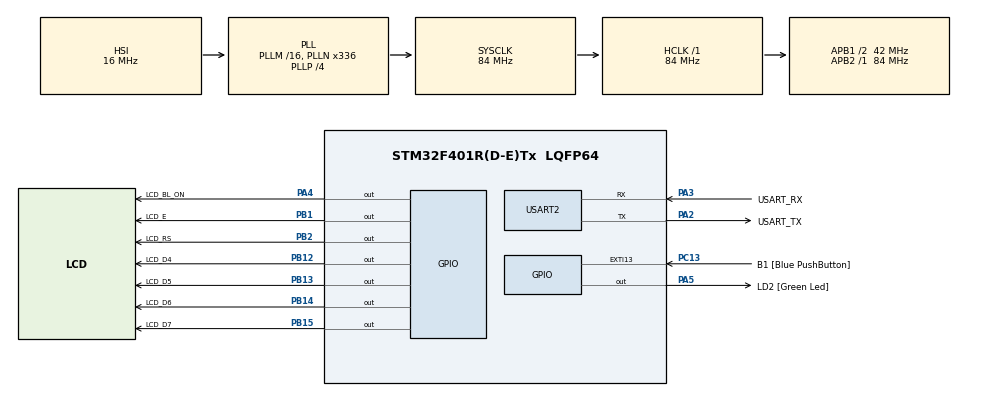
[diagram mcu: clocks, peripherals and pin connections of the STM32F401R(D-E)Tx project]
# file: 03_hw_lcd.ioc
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Mcu.Family=STM32F4
Mcu.Name=STM32F401R(D-E)Tx
Mcu.Package=LQFP64
NVIC.PriorityGroup=NVIC_PRIORITYGROUP_0
NVIC.TIM1_UP_TIM10_IRQn=true\:0\:0\:false\:false\:true\:true\:true\:true
PA13.GPIO_Label=TMS
PA13.Mode=Serial_Wire
PA13.Signal=SYS_JTMS-SWDIO
PA14.GPIO_Label=TCK
PA14.Mode=Serial_Wire
PA14.Signal=SYS_JTCK-SWCLK
PA2.GPIO_Label=USART_TX
PA2.GPIO_Mode=GPIO_MODE_AF_PP
PA2.GPIO_PuPd=GPIO_NOPULL
PA2.GPIO_Speed=GPIO_SPEED_FREQ_LOW
PA2.Mode=Asynchronous
PA2.Signal=USART2_TX
PA3.GPIO_Label=USART_RX
PA3.GPIO_Mode=GPIO_MODE_AF_PP
PA3.GPIO_PuPd=GPIO_NOPULL
PA3.GPIO_Speed=GPIO_SPEED_FREQ_LOW
PA3.Mode=Asynchronous
PA3.Signal=USART2_RX
PA4.GPIO_Label=LCD_BL_ON
PA4.Signal=GPIO_Output
PA5.GPIO_Label=LD2 [Green Led]
PA5.GPIO_Mode=GPIO_MODE_OUTPUT_PP
PA5.GPIO_PuPd=GPIO_NOPULL
PA5.GPIO_Speed=GPIO_SPEED_FREQ_LOW
PA5.Signal=GPIO_Output
PB1.GPIO_Label=LCD_E
PB1.Signal=GPIO_Output
PB12.GPIO_Label=LCD_D4
PB12.Signal=GPIO_Output
PB13.GPIO_Label=LCD_D5
PB13.Signal=GPIO_Output
PB14.GPIO_Label=LCD_D6
PB14.Signal=GPIO_Output
PB15.GPIO_Label=LCD_D7
PB15.Signal=GPIO_Output
PB2.GPIO_Label=LCD_RS
PB2.Signal=GPIO_Output
PB3.GPIO_Label=SWO
PB3.Signal=SYS_JTDO-SWO
PC13-ANTI_TAMP.GPIO_Label=B1 [Blue PushButton]
PC13-ANTI_TAMP.GPIO_ModeDefaultEXTI=GPIO_MODE_IT_FALLING
PC13-ANTI_TAMP.GPIO_PuPd=GPIO_NOPULL
PC13-ANTI_TAMP.Signal=GPXTI13
PC14-OSC32_IN.Mode=LSE-External-Oscillator
PC14-OSC32_IN.Signal=RCC_OSC32_IN
PC15-OSC32_OUT.Mode=LSE-External-Oscillator
PC15-OSC32_OUT.Signal=RCC_OSC32_OUT
PH0\ -\ OSC_IN.Mode=HSE-External-Clock-Source
PH0\ -\ OSC_IN.Signal=RCC_OSC_IN
PH1\ -\ OSC_OUT.Mode=HSE-External-Clock-Source
PH1\ -\ OSC_OUT.Signal=RCC_OSC_OUT
ProjectManager.HeapSize=0x200
ProjectManager.StackSize=0x400
ProjectManager.TargetToolchain=STM32CubeIDE
RCC.48MHZClocksFreq_Value=48000000
RCC.AHBFreq_Value=84000000
RCC.APB1CLKDivider=RCC_HCLK_DIV2
RCC.APB1Freq_Value=42000000
RCC.APB1TimFreq_Value=84000000
RCC.APB2Freq_Value=84000000
RCC.APB2TimFreq_Value=84000000
RCC.CortexFreq_Value=84000000
RCC.HCLKFreq_Value=84000000
RCC.HSE_VALUE=8000000
RCC.HSI_VALUE=16000000
RCC.PLLN=336
RCC.PLLP=RCC_PLLP_DIV4
RCC.PLLQ=7
RCC.SYSCLKFreq_VALUE=84000000
RCC.SYSCLKSource=RCC_SYSCLKSOURCE_PLLCLK
RCC.VCOOutputFreq_Value=336000000
TIM10.Period=10000-1
TIM10.Prescaler=8400-1
USART2.VirtualMode=VM_ASYNC
VP_TIM10_VS_ClockSourceINT.Mode=Enable_Timer
board=NUCLEO-F401RE

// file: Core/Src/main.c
/* USER CODE BEGIN Header */
/**
  ******************************************************************************
  * @file           : main.c
  * @brief          : Main program body
  ******************************************************************************
  * @attention
  *
  * Copyright (c) 2023 STMicroelectronics.
  * All rights reserved.
  *
  * This software is licensed under terms that can be found in the LICENSE file
  * in the root directory of this software component.
  * If no LICENSE file comes with this software, it is provided AS-IS.
  *
  ******************************************************************************
  */
/* USER CODE END Header */
#include "main.h"

/* USER CODE BEGIN Includes */
#include "PMDB16_LCD.h"
/* USER CODE END Includes */

/* USER CODE BEGIN PD */
#define TEAM_SIZE 5
/* USER CODE END PD */

TIM_HandleTypeDef htim10;

UART_HandleTypeDef huart2;

/* USER CODE BEGIN PV */
char group[TEAM_SIZE][9] = { "Ignazio",
							 "Luca_D",
							 "Leonardo",
							 "Luca_C",
							 "Lorenzo"
};

uint8_t counter = 0;

/* USER CODE END PV */

void SystemClock_Config(void);
static void MX_GPIO_Init(void);
static void MX_USART2_UART_Init(void);
static void MX_TIM10_Init(void);

/* USER CODE BEGIN 0 */

// Handle elapsed timer and triggered interrupt
void HAL_TIM_PeriodElapsedCallback (TIM_HandleTypeDef *htim){
	// Check if the timer of interest was triggered
	if(htim == &htim10){

		  lcd_println(group[counter], 0);

		  counter++;

		  if(counter >= TEAM_SIZE)
			  counter = 0;

		  lcd_println(group[counter], 1);

	}

}

/* USER CODE END 0 */

int main(void)
{

  /* MCU Configuration--------------------------------------------------------*/

  /* Reset of all peripherals, Initializes the Flash interface and the Systick. */
  HAL_Init();

  /* Configure the system clock */
  SystemClock_Config();

  /* Initialize all configured peripherals */
  MX_GPIO_Init();
  MX_USART2_UART_Init();
  MX_TIM10_Init();
  /* USER CODE BEGIN 2 */

  // Initialize display
  lcd_initialize();
  lcd_clear();
  // display first name
  lcd_println(group[0], 1);
  // just to get the opportunity to look at the display
  HAL_Delay(500);

  // Start the Timer10 interrupt (freq = 1 Hz) and check if executed correctly, otherwise call Error_Handler
  if(HAL_TIM_Base_Start_IT(&htim10) != HAL_OK)
	  Error_Handler();
  /* USER CODE END 2 */

  /* Infinite loop */
  while (1)
  {
  }
}

void SystemClock_Config(void)
{
  RCC_OscInitTypeDef RCC_OscInitStruct = {0};
  RCC_ClkInitTypeDef RCC_ClkInitStruct = {0};

  /** Configure the main internal regulator output voltage
  */
  __HAL_RCC_PWR_CLK_ENABLE();
  __HAL_PWR_VOLTAGESCALING_CONFIG(PWR_REGULATOR_VOLTAGE_SCALE2);

  /** Initializes the RCC Oscillators according to the specified parameters
  * in the RCC_OscInitTypeDef structure.
  */
  RCC_OscInitStruct.OscillatorType = RCC_OSCILLATORTYPE_HSI;
  RCC_OscInitStruct.HSIState = RCC_HSI_ON;
  RCC_OscInitStruct.HSICalibrationValue = RCC_HSICALIBRATION_DEFAULT;
  RCC_OscInitStruct.PLL.PLLState = RCC_PLL_ON;
  RCC_OscInitStruct.PLL.PLLSource = RCC_PLLSOURCE_HSI;
  RCC_OscInitStruct.PLL.PLLM = 16;
  RCC_OscInitStruct.PLL.PLLN = 336;
  RCC_OscInitStruct.PLL.PLLP = RCC_PLLP_DIV4;
  RCC_OscInitStruct.PLL.PLLQ = 7;
  if (HAL_RCC_OscConfig(&RCC_OscInitStruct) != HAL_OK)
  {
    Error_Handler();
  }

  /** Initializes the CPU, AHB and APB buses clocks
  */
  RCC_ClkInitStruct.ClockType = RCC_CLOCKTYPE_HCLK|RCC_CLOCKTYPE_SYSCLK
                              |RCC_CLOCKTYPE_PCLK1|RCC_CLOCKTYPE_PCLK2;
  RCC_ClkInitStruct.SYSCLKSource = RCC_SYSCLKSOURCE_PLLCLK;
  RCC_ClkInitStruct.AHBCLKDivider = RCC_SYSCLK_DIV1;
  RCC_ClkInitStruct.APB1CLKDivider = RCC_HCLK_DIV2;
  RCC_ClkInitStruct.APB2CLKDivider = RCC_HCLK_DIV1;

  if (HAL_RCC_ClockConfig(&RCC_ClkInitStruct, FLASH_LATENCY_2) != HAL_OK)
  {
    Error_Handler();
  }
}

static void MX_TIM10_Init(void)
{

  htim10.Instance = TIM10;
  htim10.Init.Prescaler = 8400-1;
  htim10.Init.CounterMode = TIM_COUNTERMODE_UP;
  htim10.Init.Period = 10000-1;
  htim10.Init.ClockDivision = TIM_CLOCKDIVISION_DIV1;
  htim10.Init.AutoReloadPreload = TIM_AUTORELOAD_PRELOAD_DISABLE;
  if (HAL_TIM_Base_Init(&htim10) != HAL_OK)
  {
    Error_Handler();
  }

}

static void MX_USART2_UART_Init(void)
{

  huart2.Instance = USART2;
  huart2.Init.BaudRate = 115200;
  huart2.Init.WordLength = UART_WORDLENGTH_8B;
  huart2.Init.StopBits = UART_STOPBITS_1;
  huart2.Init.Parity = UART_PARITY_NONE;
  huart2.Init.Mode = UART_MODE_TX_RX;
  huart2.Init.HwFlowCtl = UART_HWCONTROL_NONE;
  huart2.Init.OverSampling = UART_OVERSAMPLING_16;
  if (HAL_UART_Init(&huart2) != HAL_OK)
  {
    Error_Handler();
  }

}

static void MX_GPIO_Init(void)
{
  GPIO_InitTypeDef GPIO_InitStruct = {0};

  /* GPIO Ports Clock Enable */
  __HAL_RCC_GPIOC_CLK_ENABLE();
  __HAL_RCC_GPIOH_CLK_ENABLE();
  __HAL_RCC_GPIOA_CLK_ENABLE();
  __HAL_RCC_GPIOB_CLK_ENABLE();

  /*Configure GPIO pin Output Level */
  HAL_GPIO_WritePin(GPIOA, LCD_BL_ON_Pin|LD2_Pin, GPIO_PIN_RESET);

  /*Configure GPIO pin Output Level */
  HAL_GPIO_WritePin(GPIOB, LCD_E_Pin|LCD_RS_Pin|LCD_D4_Pin|LCD_D5_Pin
                          |LCD_D6_Pin|LCD_D7_Pin, GPIO_PIN_RESET);

  /*Configure GPIO pin : B1_Pin */
  GPIO_InitStruct.Pin = B1_Pin;
  GPIO_InitStruct.Mode = GPIO_MODE_IT_FALLING;
  GPIO_InitStruct.Pull = GPIO_NOPULL;
  HAL_GPIO_Init(B1_GPIO_Port, &GPIO_InitStruct);

  /*Configure GPIO pins : LCD_BL_ON_Pin LD2_Pin */
  GPIO_InitStruct.Pin = LCD_BL_ON_Pin|LD2_Pin;
  GPIO_InitStruct.Mode = GPIO_MODE_OUTPUT_PP;
  GPIO_InitStruct.Pull = GPIO_NOPULL;
  GPIO_InitStruct.Speed = GPIO_SPEED_FREQ_LOW;
  HAL_GPIO_Init(GPIOA, &GPIO_InitStruct);

  /*Configure GPIO pins : LCD_E_Pin LCD_RS_Pin LCD_D4_Pin LCD_D5_Pin
                           LCD_D6_Pin LCD_D7_Pin */
  GPIO_InitStruct.Pin = LCD_E_Pin|LCD_RS_Pin|LCD_D4_Pin|LCD_D5_Pin
                          |LCD_D6_Pin|LCD_D7_Pin;
  GPIO_InitStruct.Mode = GPIO_MODE_OUTPUT_PP;
  GPIO_InitStruct.Pull = GPIO_NOPULL;
  GPIO_InitStruct.Speed = GPIO_SPEED_FREQ_LOW;
  HAL_GPIO_Init(GPIOB, &GPIO_InitStruct);

}

void Error_Handler(void)
{
  __disable_irq();
  while (1)
  {
  }
}
